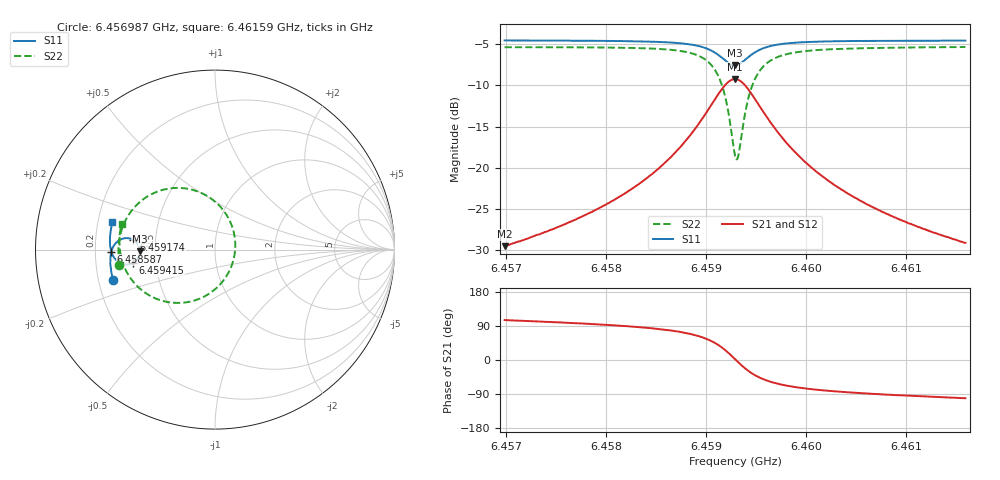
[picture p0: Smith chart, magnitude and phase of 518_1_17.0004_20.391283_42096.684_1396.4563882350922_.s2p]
#  HZ  S  RI  R  50.00
! Rohde & Schwarz Vector Network Analyzer
! Rohde-Schwarz,ZNB20-2Port,1311601062101988,3.16
! Created: UTC 3/20/2024, 11:15:16 PM
! freq[Hz]  re:S11  im:S11  re:S21  im:S21  re:S12  im:S12  re:S22  im:S22
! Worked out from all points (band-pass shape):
!   401 points, 6.456987 GHz to 6.46159 GHz, reference 50 ohm
!   highest |S21| = -9.23 dB at 6.459289 GHz (marker M1); lowest = -29.5 dB at 6.456987 GHz (marker M2)
!   |S21| within 3 dB of the highest: 6.459059 GHz to 6.459519 GHz (460.2 kHz wide, 0.00712 % of centre)
!   lowest |S11| = -7.6 dB at 6.459289 GHz (marker M3), VSWR 2.44, Z = 20.5 - j0.469 ohm
!   |S11| at or under -10 dB: nowhere
!   |S22| runs from -19.0 to -5.3 dB; largest |S21 - S12| = 0.014
!   S11 on the Smith chart (normalised r, x): 6.456987 GHz: 0.26, -0.14; 6.458587 GHz: 0.27, -0.01; 6.459174 GHz: 0.37, +0.05; 6.459415 GHz: 0.37, -0.07; 6.46159 GHz: 0.26, +0.12
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6.4569871e9  -0.5669 -0.1715  -0.00892 0.0324  -0.00725 0.0324  -0.5325 -0.084
6.4577581e9  -0.5809 -0.1039  -0.0056 0.0504  -0.00298 0.0498  -0.5378 0.00622
6.4581839e9  -0.5837 -0.0614  0.000508 0.0698  0.00366 0.0684  -0.5296 0.0737
6.4585291e9  -0.5799 -0.0201  0.0143 0.0985  0.0183 0.0959  -0.5041 0.1515
6.4585867e9  -0.578 -0.0123  0.0188 0.1055  0.0227 0.1024  -0.4959 0.168
6.4587938e9  -0.565 0.0199  0.0462 0.138  0.0504 0.1329  -0.4443 0.2407
6.4589434e9  -0.5424 0.0461  0.0915 0.1683  0.0946 0.1616  -0.3608 0.3051
6.4590815e9  -0.4986 0.0637  0.1786 0.185  0.1796 0.1775  -0.2015 0.3438
6.4591736e9  -0.4541 0.0534  0.2684 0.1538  0.2687 0.1479  -0.0349 0.2934
6.4592426e9  -0.4251 0.0215  0.329 0.0818  0.3311 0.0766  0.0807 0.1639
6.4592886e9  -0.4181 -0.00943  0.3454 0.0139  0.3491 0.00703  0.1129 0.0367
6.4593001e9  -0.4185 -0.0176  0.3452 -0.00384  0.3491 -0.0114  0.1127 0.00317
6.4593232e9  -0.422 -0.0331  0.3398 -0.0386  0.3434 -0.0477  0.1017 -0.0628
6.4593692e9  -0.4377 -0.0593  0.311 -0.0985  0.3132 -0.1104  0.0439 -0.1762
6.4594152e9  -0.4596 -0.0756  0.2688 -0.1397  0.268 -0.1527  -0.0416 -0.2512
6.4595073e9  -0.5031 -0.0823  0.1839 -0.1707  0.1779 -0.1823  -0.2108 -0.2972
6.4596569e9  -0.5469 -0.0618  0.0961 -0.1568  0.0875 -0.1629  -0.3787 -0.2475
6.459818e9  -0.5684 -0.0341  0.0512 -0.1287  0.0435 -0.1315  -0.4591 -0.175
6.4600596e9  -0.5811 0.00146  0.0222 -0.0972  0.0163 -0.0978  -0.5069 -0.0926
6.4604164e9  -0.5855 0.0438  0.00581 -0.0696  0.00178 -0.0693  -0.5285 -0.0111
6.4608307e9  -0.5836 0.0852  -0.00141 -0.0518  -0.00437 -0.051  -0.5324 0.0551
6.4615902e9  -0.5712 0.1525  -0.00663 -0.0345  -0.00821 -0.0336  -0.5209 0.1448
